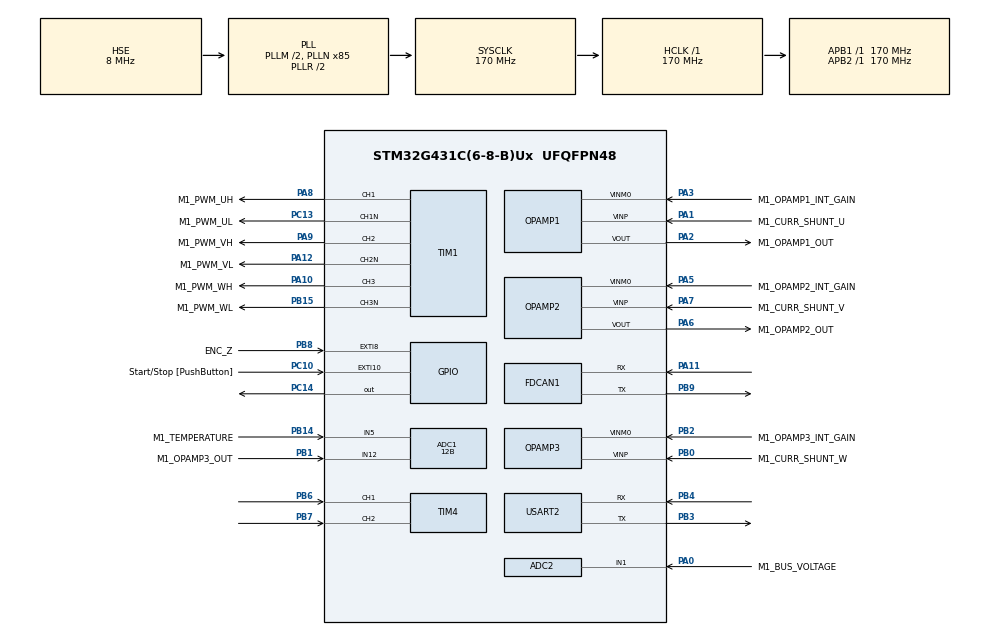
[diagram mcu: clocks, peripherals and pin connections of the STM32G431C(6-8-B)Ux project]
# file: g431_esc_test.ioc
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ADC1.ClockPrescaler=ADC_CLOCK_ASYNC_DIV1
ADC1.ContinuousConvMode=DISABLE
ADC1.DMAContinuousRequests=DISABLE
ADC1.DataAlign=ADC_DATAALIGN_RIGHT
ADC1.DiscontinuousConvMode=DISABLE
ADC1.EOCSelection=ADC_EOC_SEQ_CONV
ADC1.EnableAnalogWatchDog1=false
ADC1.EnableAnalogWatchDog2=false
ADC1.EnableAnalogWatchDog3=false
ADC1.EnableInjectedConversion=ENABLE
ADC1.EnableRegularConversion=DISABLE
ADC1.ExternalTrigInjecConv=ADC_EXTERNALTRIGINJEC_T1_CC4
ADC1.ExternalTrigInjecConvEdge=ADC_EXTERNALTRIGINJECCONV_EDGE_RISING
ADC1.InjNumberOfConversion=3
ADC1.InjectedChannel-1\#ChannelInjectedConversion=ADC_CHANNEL_3
ADC1.InjectedChannel-2\#ChannelInjectedConversion=ADC_CHANNEL_12
ADC1.InjectedChannel-3\#ChannelInjectedConversion=ADC_CHANNEL_5
ADC1.InjectedConvMode=None
ADC1.InjectedOffset-1\#ChannelInjectedConversion=0
ADC1.InjectedOffset-2\#ChannelInjectedConversion=0
ADC1.InjectedOffsetNumber-1\#ChannelInjectedConversion=ADC_OFFSET_NONE
ADC1.InjectedOffsetNumber-2\#ChannelInjectedConversion=ADC_OFFSET_NONE
ADC1.InjectedOffsetNumber-3\#ChannelInjectedConversion=ADC_OFFSET_NONE
ADC1.InjectedRank-1\#ChannelInjectedConversion=1
ADC1.InjectedRank-2\#ChannelInjectedConversion=2
ADC1.InjectedRank-3\#ChannelInjectedConversion=3
ADC1.InjectedSamplingTime-1\#ChannelInjectedConversion=ADC_SAMPLETIME_6CYCLES_5
ADC1.InjectedSamplingTime-2\#ChannelInjectedConversion=ADC_SAMPLETIME_6CYCLES_5
ADC1.InjectedSamplingTime-3\#ChannelInjectedConversion=ADC_SAMPLETIME_6CYCLES_5
ADC1.LowPowerAutoWait=DISABLE
ADC1.Overrun=ADC_OVR_DATA_PRESERVED
ADC1.Rank3_Channel=ADC_CHANNEL_5
ADC1.Resolution=ADC_RESOLUTION_12B
ADC1.ScanConvMode=ADC_SCAN_ENABLE
ADC1.master=1
ADC2.ClockPrescaler=ADC_CLOCK_ASYNC_DIV1
ADC2.ContinuousConvMode=DISABLE
ADC2.DMAContinuousRequests=DISABLE
ADC2.DataAlign=ADC_DATAALIGN_RIGHT
ADC2.DiscontinuousConvMode=DISABLE
ADC2.EOCSelection=ADC_EOC_SEQ_CONV
ADC2.EnableAnalogWatchDog1=false
ADC2.EnableAnalogWatchDog2=false
ADC2.EnableAnalogWatchDog3=false
ADC2.EnableInjectedConversion=ENABLE
ADC2.EnableRegularConversion=DISABLE
ADC2.ExternalTrigInjecConv=ADC_EXTERNALTRIGINJEC_T1_CC4
ADC2.ExternalTrigInjecConvEdge=ADC_EXTERNALTRIGINJECCONV_EDGE_RISING
ADC2.GainCompensation=0
ADC2.InjNumberOfConversion=2
ADC2.InjectedChannel-1\#ChannelInjectedConversion=ADC_CHANNEL_3
ADC2.InjectedChannel-3\#ChannelInjectedConversion=ADC_CHANNEL_1
ADC2.InjectedConvMode=None
ADC2.InjectedOffset-1\#ChannelInjectedConversion=0
ADC2.InjectedOffsetNumber-1\#ChannelInjectedConversion=ADC_OFFSET_NONE
ADC2.InjectedOffsetNumber-3\#ChannelInjectedConversion=ADC_OFFSET_NONE
ADC2.InjectedRank-1\#ChannelInjectedConversion=1
ADC2.InjectedRank-3\#ChannelInjectedConversion=2
ADC2.InjectedSamplingTime-1\#ChannelInjectedConversion=ADC_SAMPLETIME_6CYCLES_5
ADC2.InjectedSamplingTime-3\#ChannelInjectedConversion=ADC_SAMPLETIME_6CYCLES_5
ADC2.LowPowerAutoWait=DISABLE
ADC2.Overrun=ADC_OVR_DATA_PRESERVED
ADC2.Rank2_Channel=ADC_CHANNEL_1
ADC2.Resolution=ADC_RESOLUTION_12B
ADC2.ScanConvMode=ADC_SCAN_ENABLE
FDCAN1.CalculateBaudRateNominal=1000000
FDCAN1.CalculateTimeBitNominal=1000
FDCAN1.CalculateTimeQuantumNominal=100.0
FDCAN1.DataPrescaler=8
FDCAN1.DataSyncJumpWidth=2
FDCAN1.DataTimeSeg1=6
FDCAN1.DataTimeSeg2=3
FDCAN1.NominalPrescaler=17
FDCAN1.NominalSyncJumpWidth=2
FDCAN1.NominalTimeSeg1=6
FDCAN1.NominalTimeSeg2=3
FDCAN1.StdFiltersNbr=1
Mcu.Family=STM32G4
Mcu.Name=STM32G431C(6-8-B)Ux
Mcu.Package=UFQFPN48
NVIC.ADC1_2_IRQn=true\:2\:0\:true\:true\:true\:1\:true\:true\:true
NVIC.EXTI15_10_IRQn=true\:3\:0\:false\:true\:true\:2\:true\:true\:true
NVIC.EXTI9_5_IRQn=true\:5\:0\:true\:true\:true\:3\:true\:true\:true
NVIC.FDCAN1_IT0_IRQn=true\:5\:0\:true\:false\:true\:true\:true\:true
NVIC.FDCAN1_IT1_IRQn=true\:5\:0\:true\:false\:true\:true\:true\:true
NVIC.PriorityGroup=NVIC_PRIORITYGROUP_3
NVIC.USART2_IRQn=true\:0\:0\:false\:false\:true\:true\:true\:true
OPAMP1.PgaGain=OPAMP_PGA_GAIN_16_OR_MINUS_15
OPAMP1.SelfCalibration=Disable
OPAMP2.PgaGain=OPAMP_PGA_GAIN_16_OR_MINUS_15
OPAMP2.SelfCalibration=Disable
OPAMP3.PgaGain=OPAMP_PGA_GAIN_16_OR_MINUS_15
OPAMP3.SelfCalibration=Disable
PA0.GPIO_Label=M1_BUS_VOLTAGE
PA0.Signal=SharedAnalog_PA0
PA1.GPIO_Label=M1_CURR_SHUNT_U
PA1.Mode=PGA Connected-INVERTINGINPUT_IO0_BIAS
PA1.Signal=OPAMP1_VINP
PA10.GPIO_Label=M1_PWM_WH
PA10.GPIO_PuPd=GPIO_PULLDOWN
PA10.GPIO_Speed=GPIO_SPEED_FREQ_HIGH
PA10.Signal=S_TIM1_CH3
PA11.Mode=FDCAN_Activate
PA11.Signal=FDCAN1_RX
PA12.GPIO_Label=M1_PWM_VL
PA12.GPIO_PuPd=GPIO_PULLDOWN
PA12.GPIO_Speed=GPIO_SPEED_FREQ_HIGH
PA12.Mode=PWM Generation2 CH2 CH2N
PA12.Signal=TIM1_CH2N
PA13.GPIO_Label=TMS
PA13.Mode=Serial_Wire
PA13.Signal=SYS_JTMS-SWDIO
PA14.GPIO_Label=TCK
PA14.Mode=Serial_Wire
PA14.Signal=SYS_JTCK-SWCLK
PA2.GPIO_Label=M1_OPAMP1_OUT
PA2.Signal=SharedAnalog_PA2
PA3.GPIO_Label=M1_OPAMP1_INT_GAIN
PA3.Mode=PGA Connected-INVERTINGINPUT_IO0_BIAS
PA3.Signal=OPAMP1_VINM0
PA5.GPIO_Label=M1_OPAMP2_INT_GAIN
PA5.Mode=PGA Connected-INVERTINGINPUT_IO0_BIAS
PA5.Signal=OPAMP2_VINM0
PA6.GPIO_Label=M1_OPAMP2_OUT
PA6.Signal=SharedAnalog_PA6
PA7.GPIO_Label=M1_CURR_SHUNT_V
PA7.Mode=PGA Connected-INVERTINGINPUT_IO0_BIAS
PA7.Signal=OPAMP2_VINP
PA8.GPIO_Label=M1_PWM_UH
PA8.GPIO_PuPd=GPIO_PULLDOWN
PA8.GPIO_Speed=GPIO_SPEED_FREQ_HIGH
PA8.Signal=S_TIM1_CH1
PA9.GPIO_Label=M1_PWM_VH
PA9.GPIO_PuPd=GPIO_PULLDOWN
PA9.GPIO_Speed=GPIO_SPEED_FREQ_HIGH
PA9.Signal=S_TIM1_CH2
PB0.GPIO_Label=M1_CURR_SHUNT_W
PB0.Mode=PGA Connected-INVERTINGINPUT_IO0_BIAS
PB0.Signal=OPAMP3_VINP
PB1.GPIO_Label=M1_OPAMP3_OUT
PB1.Signal=SharedAnalog_PB1
PB14.GPIO_Label=M1_TEMPERATURE
PB14.Mode=IN5-Single-Ended
PB14.Signal=ADC1_IN5
PB15.GPIO_Label=M1_PWM_WL
PB15.GPIO_PuPd=GPIO_PULLDOWN
PB15.GPIO_Speed=GPIO_SPEED_FREQ_HIGH
PB15.Mode=PWM Generation3 CH3 CH3N
PB15.Signal=TIM1_CH3N
PB2.GPIO_Label=M1_OPAMP3_INT_GAIN
PB2.Mode=PGA Connected-INVERTINGINPUT_IO0_BIAS
PB2.Signal=OPAMP3_VINM0
PB3.Mode=Asynchronous
PB3.Signal=USART2_TX
PB4.Mode=Asynchronous
PB4.Signal=USART2_RX
PB6.Signal=S_TIM4_CH1
PB7.Signal=S_TIM4_CH2
PB8-BOOT0.GPIO_Label=ENC_Z
PB8-BOOT0.Signal=GPXTI8
PB9.Mode=FDCAN_Activate
PB9.Signal=FDCAN1_TX
PC10.GPIO_Label=Start/Stop [PushButton]
PC10.GPIO_ModeDefaultEXTI=GPIO_MODE_IT_FALLING
PC10.GPIO_PuPd=GPIO_NOPULL
PC10.Signal=GPXTI10
PC13.GPIO_Label=M1_PWM_UL
PC13.GPIO_PuPd=GPIO_PULLDOWN
PC13.GPIO_Speed=GPIO_SPEED_FREQ_HIGH
PC13.Mode=PWM Generation1 CH1 CH1N
PC13.Signal=TIM1_CH1N
PC14-OSC32_IN.Signal=GPIO_Output
PF0-OSC_IN.Mode=HSE-External-Oscillator
PF0-OSC_IN.Signal=RCC_OSC_IN
PF1-OSC_OUT.Mode=HSE-External-Oscillator
PF1-OSC_OUT.Signal=RCC_OSC_OUT
ProjectManager.HeapSize=0x200
ProjectManager.StackSize=0x400
ProjectManager.TargetToolchain=STM32CubeIDE
RCC.ADC12CLockSelection=RCC_ADC12CLKSOURCE_PLL
RCC.ADC12Freq_Value=42500000
RCC.AHBFreq_Value=170000000
RCC.APB1Freq_Value=170000000
RCC.APB1TimFreq_Value=170000000
RCC.APB2Freq_Value=170000000
RCC.APB2TimFreq_Value=170000000
RCC.CK48CLockSelection=RCC_USBCLKSOURCE_PLL
RCC.CortexFreq_Value=170000000
RCC.EXTERNAL_CLOCK_VALUE=12288000
RCC.EnbaleCSS=true
RCC.HCLKFreq_Value=170000000
RCC.HSE_VALUE=8000000
RCC.HSI48_VALUE=48000000
RCC.HSI_VALUE=16000000
RCC.LSE_VALUE=32768
RCC.PLLM=RCC_PLLM_DIV2
RCC.PLLN=85
RCC.PLLP=RCC_PLLP_DIV8
RCC.PLLSourceVirtual=RCC_PLLSOURCE_HSE
RCC.PREFETCH_ENABLE=1
RCC.SYSCLKFreq_VALUE=170000000
RCC.SYSCLKSource=RCC_SYSCLKSOURCE_PLLCLK
RCC.USBFreq_Value=170000000
RCC.VCOOutputFreq_Value=340000000
SH.S_TIM1_CH1.0=TIM1_CH1,PWM Generation1 CH1 CH1N
SH.S_TIM1_CH2.0=TIM1_CH2,PWM Generation2 CH2 CH2N
SH.S_TIM1_CH3.0=TIM1_CH3,PWM Generation3 CH3 CH3N
SH.S_TIM4_CH1.0=TIM4_CH1,Encoder_Interface
SH.S_TIM4_CH2.0=TIM4_CH2,Encoder_Interface
SH.SharedAnalog_PA0.0=ADC1_IN1
SH.SharedAnalog_PA0.1=ADC2_IN1,IN1-Single-Ended
SH.SharedAnalog_PA2.0=OPAMP1_VOUT,PGA Connected-INVERTINGINPUT_IO0_BIAS
SH.SharedAnalog_PA2.1=ADC1_IN3,IN3-Single-Ended
SH.SharedAnalog_PA6.0=OPAMP2_VOUT,PGA Connected-INVERTINGINPUT_IO0_BIAS
SH.SharedAnalog_PA6.1=ADC2_IN3,IN3-Single-Ended
SH.SharedAnalog_PB1.0=ADC1_IN12,IN12-Single-Ended
SH.SharedAnalog_PB1.1=OPAMP3_VOUT,PGA Connected-INVERTINGINPUT_IO0_BIAS
TIM1.AutoReloadPreload=TIM_AUTORELOAD_PRELOAD_DISABLE
TIM1.AutomaticOutput=TIM_AUTOMATICOUTPUT_DISABLE
TIM1.Break2Filter=3
TIM1.Break2Polarity=TIM_BREAK2POLARITY_HIGH
TIM1.Break2State=TIM_BREAK2_DISABLE
TIM1.BreakFilter=0
TIM1.BreakPolarity=TIM_BREAKPOLARITY_HIGH
TIM1.BreakState=TIM_BREAK_DISABLE
TIM1.Channel=TIM_CHANNEL_4
TIM1.Channel-PWM\ Generation1\ CH1\ CH1N=TIM_CHANNEL_1
TIM1.Channel-PWM\ Generation2\ CH2\ CH2N=TIM_CHANNEL_2
TIM1.Channel-PWM\ Generation3\ CH3\ CH3N=TIM_CHANNEL_3
TIM1.Channel-PWM\ Generation4\ No\ Output=TIM_CHANNEL_4
TIM1.ClearInputSource=TIM_CLEARINPUTSOURCE_NONE
TIM1.ClockDivision=TIM_CLOCKDIVISION_DIV2
TIM1.CounterMode=TIM_COUNTERMODE_CENTERALIGNED1
TIM1.DeadTime=((DEAD_TIME_COUNTS) / 2)
TIM1.LockLevel=TIM_LOCKLEVEL_OFF
TIM1.OC1Preload_PWM=ENABLE
TIM1.OC2Preload_PWM=ENABLE
TIM1.OC3Preload_PWM=ENABLE
TIM1.OC4Preload_PWM=ENABLE
TIM1.OCFastMode_PWM=TIM_OCFAST_DISABLE
TIM1.OCIdleState_1=TIM_OCIDLESTATE_RESET
TIM1.OCIdleState_2=TIM_OCIDLESTATE_RESET
TIM1.OCIdleState_3=TIM_OCIDLESTATE_RESET
TIM1.OCIdleState_4=TIM_OCIDLESTATE_RESET
TIM1.OCMode_PWM-PWM\ Generation1\ CH1\ CH1N=TIM_OCMODE_PWM1
TIM1.OCMode_PWM-PWM\ Generation2\ CH2\ CH2N=TIM_OCMODE_PWM1
TIM1.OCMode_PWM-PWM\ Generation3\ CH3\ CH3N=TIM_OCMODE_PWM1
TIM1.OCMode_PWM-PWM\ Generation4\ No\ Output=TIM_OCMODE_PWM2
TIM1.OCNIdleState_1=TIM_OCNIDLESTATE_RESET
TIM1.OCNIdleState_2=TIM_OCNIDLESTATE_RESET
TIM1.OCNIdleState_3=TIM_OCNIDLESTATE_RESET
TIM1.OCNPolarity_1=TIM_OCNPOLARITY_HIGH
TIM1.OCNPolarity_2=TIM_OCNPOLARITY_HIGH
TIM1.OCNPolarity_3=TIM_OCNPOLARITY_HIGH
TIM1.OCPolarity_1=TIM_OCPOLARITY_HIGH
TIM1.OCPolarity_2=TIM_OCPOLARITY_HIGH
TIM1.OCPolarity_3=TIM_OCPOLARITY_HIGH
TIM1.OCPolarity_4=TIM_OCPOLARITY_HIGH
TIM1.OffStateIDLEMode=TIM_OSSI_ENABLE
TIM1.OffStateRunMode=TIM_OSSR_ENABLE
TIM1.PeriodNoDither=((PWM_PERIOD_CYCLES) / 2)
TIM1.Prescaler=((TIM_CLOCK_DIVIDER) - 1)
TIM1.PulseNoDither_1=((PWM_PERIOD_CYCLES) / 4)
TIM1.PulseNoDither_2=((PWM_PERIOD_CYCLES) / 4)
TIM1.PulseNoDither_3=((PWM_PERIOD_CYCLES) / 4)
TIM1.PulseNoDither_4=(((PWM_PERIOD_CYCLES) / 2) - (HTMIN))
TIM1.RepetitionCounter=(REP_COUNTER)
TIM1.SourceBRK2DigInput=TIM_BREAKINPUTSOURCE_DISABLE
TIM1.SourceBRKDigInput=TIM_BREAKINPUTSOURCE_DISABLE
TIM1.TIM_MasterOutputTrigger=TIM_TRGO_OC4REF
TIM1.TIM_MasterOutputTrigger2=TIM_TRGO2_RESET
TIM1.TIM_MasterSlaveMode=TIM_MASTERSLAVEMODE_DISABLE
TIM1.TIM_SlaveMode=TIM_SLAVEMODE_TRIGGER
TIM4.EncoderMode=TIM_ENCODERMODE_TI12
USART2.VirtualMode-Asynchronous=VM_ASYNC
VP_SYS_VS_DBSignals.Mode=DisableDeadBatterySignals
VP_TIM1_VS_no_output4.Mode=PWM Generation4 No Output
board=custom

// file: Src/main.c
/* USER CODE BEGIN Header */
/**
  ******************************************************************************
  * @file           : main.c
  * @brief          : Main program body
  ******************************************************************************
  * @attention
  *
  * Copyright (c) 2024 STMicroelectronics.
  * All rights reserved.
  *
  * This software is licensed under terms that can be found in the LICENSE file
  * in the root directory of this software component.
  * If no LICENSE file comes with this software, it is provided AS-IS.
  *
  ******************************************************************************
  */
/* USER CODE END Header */
#include "main.h"

/* USER CODE BEGIN Includes */

#include <stdio.h>

/* USER CODE END Includes */

/* USER CODE BEGIN PD */

#define TIM_CLOCK_DIVIDER  1
#define PWM_PERIOD_CYCLES  17000
#define REP_COUNTER  1
#define DEAD_TIME_COUNTS  170
#define HTMIN 10

/* USER CODE END PD */

ADC_HandleTypeDef hadc1;
ADC_HandleTypeDef hadc2;

FDCAN_HandleTypeDef hfdcan1;

OPAMP_HandleTypeDef hopamp1;
OPAMP_HandleTypeDef hopamp2;
OPAMP_HandleTypeDef hopamp3;

TIM_HandleTypeDef htim1;
TIM_HandleTypeDef htim4;

UART_HandleTypeDef huart2;

/* USER CODE BEGIN PV */

#define DUMP_LENGTH (1024)

volatile uint32_t hf_counter = 0;
volatile uint32_t dump_ad1[DUMP_LENGTH];
volatile uint32_t dump_ad2[DUMP_LENGTH];
volatile uint32_t dump_ad3[DUMP_LENGTH];
volatile uint32_t dump_ad4[DUMP_LENGTH];
volatile uint32_t dump_ad5[DUMP_LENGTH];
volatile uint32_t dump_ad6[DUMP_LENGTH];

#define UART_RX_LINE_SIZE 256

uint8_t uart_rx_line[UART_RX_LINE_SIZE];
uint32_t uart_rx_counter = 0;
uint8_t uart_rx_c;

float duty_a = 0.0;
float duty_b = 0.0;
int ccr1 = 0;
int ccr2 = 0;
int ccr3 = 0;

/* USER CODE END PV */

void SystemClock_Config(void);
static void MX_GPIO_Init(void);
static void MX_ADC1_Init(void);
static void MX_ADC2_Init(void);
static void MX_OPAMP1_Init(void);
static void MX_OPAMP2_Init(void);
static void MX_OPAMP3_Init(void);
static void MX_TIM1_Init(void);
static void MX_USART2_UART_Init(void);
static void MX_TIM4_Init(void);
static void MX_FDCAN1_Init(void);
static void MX_NVIC_Init(void);
/* USER CODE BEGIN PFP */

void __io_putchar(uint8_t ch)
{
	HAL_UART_Transmit(&huart2, &ch, 1, 1);
}

/* USER CODE END PFP */

/* USER CODE BEGIN 0 */

void HAL_GPIO_EXTI_Callback(uint16_t GPIO_Pin)
{

//	if(GPIO_Pin == ENC_Z_Pin)
//	{
//		uint16_t cnt = htim4.Instance->CNT;
//
//		printf("cnt = %6d \r\n", cnt);
//	}

	return;
}

void HAL_ADCEx_InjectedConvCpltCallback(ADC_HandleTypeDef *hadc)
{

	if(hadc->Instance != hadc1.Instance) return;

	if(hf_counter < (DUMP_LENGTH << 0))
	{
		dump_ad1[hf_counter >> 0] = hadc1.Instance->JDR1;
		dump_ad2[hf_counter >> 0] = hadc1.Instance->JDR2;
		dump_ad3[hf_counter >> 0] = hadc1.Instance->JDR3;
		dump_ad4[hf_counter >> 0] = hadc2.Instance->JDR1;
		dump_ad5[hf_counter >> 0] = hadc2.Instance->JDR2;
	}

	hf_counter += 1;

	return;
}

int parse_cmd(char *str, float *cmd_a, float *cmd_b)
{
	return sscanf(str, "%f,%f", cmd_a, cmd_b);
}

void update_pwm(float cmd_a, float cmd_b)
{
	float max, min, offset;
	max = (cmd_a > cmd_b ? (cmd_a > 0 ? cmd_a : 0) : (cmd_b > 0 ? cmd_b : 0));
	min = (cmd_a < cmd_b ? (cmd_a < 0 ? cmd_a : 0) : (cmd_b < 0 ? cmd_b : 0));
	printf("min=%f, max=%f\n", max, min);
	offset = 0.5 - (max + min) / 2;
	htim1.Instance->CCR1 = ccr1 = PWM_PERIOD_CYCLES / 2 * (cmd_a + offset);
	htim1.Instance->CCR2 = ccr2 = PWM_PERIOD_CYCLES / 2 * offset;
	htim1.Instance->CCR3 = ccr3 = PWM_PERIOD_CYCLES / 2 * (cmd_b + offset);

}

void set_cmd(float cmd_a, float cmd_b)
{

	const float upper_lim = 0.97;

	// Limiter
	float sum = 0.0;
	if(cmd_a < -upper_lim)     { cmd_a = -upper_lim; }
	else if(cmd_a > upper_lim) { cmd_a =  upper_lim; }
	if(cmd_b < -upper_lim)     { cmd_b = -upper_lim; }
	else if(cmd_b > upper_lim) { cmd_b =  upper_lim; }

	sum = cmd_a + cmd_b;
	if(cmd_b - cmd_a > upper_lim)
	{
		duty_a = (sum - upper_lim) * 0.5;
		duty_b = (sum + upper_lim) * 0.5;
	}
	else if(cmd_a - cmd_b > upper_lim)
	{
		duty_a = (sum + upper_lim) * 0.5;
		duty_b = (sum - upper_lim) * 0.5;
	}
	else
	{
		duty_a = cmd_a;
		duty_b = cmd_b;
	}

	// Update pwm
	update_pwm(duty_a, duty_b);

}

void HAL_UART_RxCpltCallback(UART_HandleTypeDef *huart)
{

	if(huart->Instance == huart2.Instance)
	{
		if(uart_rx_c == '\n')
		{
			float cmd_a, cmd_b;
			int res;
			uart_rx_line[uart_rx_counter] = '\0';
			uart_rx_counter = 0;
			res = parse_cmd((char*)uart_rx_line, &cmd_a, &cmd_b);
			if(res == 2)
			{
				set_cmd(cmd_a, cmd_b);
//				duty_a = cmd_a;
//				duty_b = cmd_b;
			}
		}
		else
		{
			uart_rx_line[uart_rx_counter] = uart_rx_c;
			uart_rx_counter += 1;
		}

		HAL_UART_Receive_IT(&huart2, &uart_rx_c, 1);
	}

}

int CAN_Init()
{

	FDCAN_FilterTypeDef sFilterConfig;

	sFilterConfig.IdType = FDCAN_STANDARD_ID;
	sFilterConfig.FilterIndex = 0;
	sFilterConfig.FilterType = FDCAN_FILTER_MASK;
	sFilterConfig.FilterConfig = FDCAN_FILTER_TO_RXFIFO0;
	sFilterConfig.FilterID1 = 0x00;//0x400;
	sFilterConfig.FilterID2 = 0x000;//0x7fc; // 0b0111 1111 1100

	if(HAL_FDCAN_ConfigFilter(&hfdcan1, &sFilterConfig) != HAL_OK)
	{
		return -1;
		//Error_Handler();
	}

	if(HAL_FDCAN_ConfigGlobalFilter(&hfdcan1, FDCAN_ACCEPT_IN_RX_FIFO0, FDCAN_ACCEPT_IN_RX_FIFO0, ENABLE, ENABLE) != HAL_OK)
	{
		return -1;
		//Error_Handler();
	}

	if(HAL_FDCAN_ActivateNotification(&hfdcan1, FDCAN_FLAG_RX_FIFO0_NEW_MESSAGE, 0) != HAL_OK)
	{
		return -1;
		//Error_Handler();
	}

	if(HAL_FDCAN_ActivateNotification(&hfdcan1, FDCAN_IT_BUS_OFF, 0) != HAL_OK)
	{
		return -1;
		//Error_Handler();
	}

	if(HAL_FDCAN_Start(&hfdcan1) != HAL_OK)
	{
		return -1;
		//Error_Handler();
	}

}

void HAL_FDCAN_RxFifo0Callback(FDCAN_HandleTypeDef *hfdcan, uint32_t RxFifo0ITs)
{

	if(hfdcan->Instance == FDCAN1 && RxFifo0ITs & FDCAN_IT_RX_FIFO0_NEW_MESSAGE)
	{
		FDCAN_RxHeaderTypeDef canRxHeader;
		uint8_t canRxData[8];
		uint8_t motor_channel;

		HAL_FDCAN_GetRxMessage(hfdcan, FDCAN_RX_FIFO0, &canRxHeader, canRxData);

		printf("id = %08x\n", canRxHeader.Identifier);
		printf("DLC = %d\n", canRxHeader.DataLength);
		printf("Data = [");
		for(int i = 0; i < 8; i++)
		{
			printf("%02x ", canRxData[i]);
		}
		printf("]\n");

	}

}

void  HAL_FDCAN_ErrorStatusCallback(FDCAN_HandleTypeDef *hfdcan, uint32_t ErrorStatusITs)
{
	if((ErrorStatusITs & FDCAN_IE_BOE) != 0)  /* If Bus-Off error occured */
	{
		hfdcan->Instance->CCCR &= ~FDCAN_CCCR_INIT; /* Recover from Bus-Off */
	}
}

/* USER CODE END 0 */

int main(void)
{

  /* MCU Configuration--------------------------------------------------------*/

  /* Reset of all peripherals, Initializes the Flash interface and the Systick. */
  HAL_Init();

  /* Configure the system clock */
  SystemClock_Config();

  /* Initialize all configured peripherals */
  MX_GPIO_Init();
  MX_ADC1_Init();
  MX_ADC2_Init();
  MX_OPAMP1_Init();
  MX_OPAMP2_Init();
  MX_OPAMP3_Init();
  MX_TIM1_Init();
  MX_USART2_UART_Init();
  MX_TIM4_Init();
  MX_FDCAN1_Init();

  /* Initialize interrupts */
  MX_NVIC_Init();
  /* USER CODE BEGIN 2 */

	HAL_Delay(500);
	printf("Hello \r\n");

	HAL_OPAMP_Start(&hopamp1);
	HAL_OPAMP_Start(&hopamp2);
	HAL_OPAMP_Start(&hopamp3);

	HAL_ADCEx_InjectedStart_IT(&hadc1);
  	HAL_ADCEx_InjectedStart_IT(&hadc2);

	HAL_TIM_PWM_Start_IT(&htim1, TIM_CHANNEL_1);
	HAL_TIM_PWM_Start_IT(&htim1, TIM_CHANNEL_2);
	HAL_TIM_PWM_Start_IT(&htim1, TIM_CHANNEL_3);
	HAL_TIM_PWM_Start_IT(&htim1, TIM_CHANNEL_4);

	HAL_TIMEx_PWMN_Start_IT(&htim1, TIM_CHANNEL_1);
	HAL_TIMEx_PWMN_Start_IT(&htim1, TIM_CHANNEL_2);
	HAL_TIMEx_PWMN_Start_IT(&htim1, TIM_CHANNEL_3);

	HAL_UART_Receive_IT(&huart2, &uart_rx_c, 1);

	CAN_Init();

//	HAL_TIM_Encoder_Start(&htim4, TIM_CHANNEL_ALL);

  /* USER CODE END 2 */

  /* Infinite loop */
  /* USER CODE BEGIN WHILE */

//	while(hf_counter < (DUMP_LENGTH << 0))
//	{
//		HAL_Delay(100);
//	}
//
//	for(int i = 0; i < DUMP_LENGTH; i++)
//	{
//		printf("%d, %ld, %ld, %ld, %ld, %ld, %ld\r\n", i, dump_ad1[i], dump_ad2[i], dump_ad3[i], dump_ad4[i], dump_ad5[i], dump_ad6[i]);
//		HAL_Delay(1);
//	}

  while (1)
  {

		HAL_Delay(200);

//		HAL_UART_Transmit(&huart2, "ABCDEFG\n", 8, 1);

//		for(int i = 0; i < 40; i++)
//		{
//			printf("%c", uart_rx_line[i]);
//		}
//		printf(", cnt = %d\n", uart_rx_counter);

//		printf("cmd = %f, %f\n", duty_a, duty_b);
//		printf("ccr = %5d, %5d, %5d\n", ccr1, ccr2, ccr3);

//		uint16_t cnt = htim4.Instance->CNT;
//		uint8_t z = HAL_GPIO_ReadPin(ENC_Z_GPIO_Port, ENC_Z_Pin);

//		printf("cnt = %d , z = %d\r\n", cnt, z);
//		printf("cnt = %6d \r\n", cnt);

    /* USER CODE END WHILE */

  }
}

void SystemClock_Config(void)
{
  RCC_OscInitTypeDef RCC_OscInitStruct = {0};
  RCC_ClkInitTypeDef RCC_ClkInitStruct = {0};

  /** Configure the main internal regulator output voltage
  */
  HAL_PWREx_ControlVoltageScaling(PWR_REGULATOR_VOLTAGE_SCALE1_BOOST);

  /** Initializes the RCC Oscillators according to the specified parameters
  * in the RCC_OscInitTypeDef structure.
  */
  RCC_OscInitStruct.OscillatorType = RCC_OSCILLATORTYPE_HSE;
  RCC_OscInitStruct.HSEState = RCC_HSE_ON;
  RCC_OscInitStruct.PLL.PLLState = RCC_PLL_ON;
  RCC_OscInitStruct.PLL.PLLSource = RCC_PLLSOURCE_HSE;
  RCC_OscInitStruct.PLL.PLLM = RCC_PLLM_DIV2;
  RCC_OscInitStruct.PLL.PLLN = 85;
  RCC_OscInitStruct.PLL.PLLP = RCC_PLLP_DIV8;
  RCC_OscInitStruct.PLL.PLLQ = RCC_PLLQ_DIV2;
  RCC_OscInitStruct.PLL.PLLR = RCC_PLLR_DIV2;
  if (HAL_RCC_OscConfig(&RCC_OscInitStruct) != HAL_OK)
  {
    Error_Handler();
  }

  /** Initializes the CPU, AHB and APB buses clocks
  */
  RCC_ClkInitStruct.ClockType = RCC_CLOCKTYPE_HCLK|RCC_CLOCKTYPE_SYSCLK
                              |RCC_CLOCKTYPE_PCLK1|RCC_CLOCKTYPE_PCLK2;
  RCC_ClkInitStruct.SYSCLKSource = RCC_SYSCLKSOURCE_PLLCLK;
  RCC_ClkInitStruct.AHBCLKDivider = RCC_SYSCLK_DIV1;
  RCC_ClkInitStruct.APB1CLKDivider = RCC_HCLK_DIV1;
  RCC_ClkInitStruct.APB2CLKDivider = RCC_HCLK_DIV1;

  if (HAL_RCC_ClockConfig(&RCC_ClkInitStruct, FLASH_LATENCY_4) != HAL_OK)
  {
    Error_Handler();
  }

  /** Enables the Clock Security System
  */
  HAL_RCC_EnableCSS();
}

/**
  * @brief NVIC Configuration.
  * @retval None
  */
static void MX_NVIC_Init(void)
{
  /* ADC1_2_IRQn interrupt configuration */
  HAL_NVIC_SetPriority(ADC1_2_IRQn, 2, 0);
  HAL_NVIC_EnableIRQ(ADC1_2_IRQn);
  /* EXTI15_10_IRQn interrupt configuration */
  HAL_NVIC_SetPriority(EXTI15_10_IRQn, 3, 0);
  HAL_NVIC_EnableIRQ(EXTI15_10_IRQn);
  /* EXTI9_5_IRQn interrupt configuration */
  HAL_NVIC_SetPriority(EXTI9_5_IRQn, 5, 0);
  HAL_NVIC_EnableIRQ(EXTI9_5_IRQn);
}

static void MX_ADC1_Init(void)
{

  ADC_MultiModeTypeDef multimode = {0};
  ADC_InjectionConfTypeDef sConfigInjected = {0};

  /** Common config
  */
  hadc1.Instance = ADC1;
  hadc1.Init.ClockPrescaler = ADC_CLOCK_ASYNC_DIV1;
  hadc1.Init.Resolution = ADC_RESOLUTION_12B;
  hadc1.Init.DataAlign = ADC_DATAALIGN_RIGHT;
  hadc1.Init.GainCompensation = 0;
  hadc1.Init.ScanConvMode = ADC_SCAN_ENABLE;
  hadc1.Init.EOCSelection = ADC_EOC_SEQ_CONV;
  hadc1.Init.LowPowerAutoWait = DISABLE;
  hadc1.Init.ContinuousConvMode = DISABLE;
  hadc1.Init.NbrOfConversion = 1;
  hadc1.Init.DiscontinuousConvMode = DISABLE;
  hadc1.Init.DMAContinuousRequests = DISABLE;
  hadc1.Init.Overrun = ADC_OVR_DATA_PRESERVED;
  hadc1.Init.OversamplingMode = DISABLE;
  if (HAL_ADC_Init(&hadc1) != HAL_OK)
  {
    Error_Handler();
  }

  /** Configure the ADC multi-mode
  */
  multimode.Mode = ADC_MODE_INDEPENDENT;
  if (HAL_ADCEx_MultiModeConfigChannel(&hadc1, &multimode) != HAL_OK)
  {
    Error_Handler();
  }

  /** Configure Injected Channel
  */
  sConfigInjected.InjectedChannel = ADC_CHANNEL_3;
  sConfigInjected.InjectedRank = ADC_INJECTED_RANK_1;
  sConfigInjected.InjectedSamplingTime = ADC_SAMPLETIME_6CYCLES_5;
  sConfigInjected.InjectedSingleDiff = ADC_SINGLE_ENDED;
  sConfigInjected.InjectedOffsetNumber = ADC_OFFSET_NONE;
  sConfigInjected.InjectedOffset = 0;
  sConfigInjected.InjectedNbrOfConversion = 3;
  sConfigInjected.InjectedDiscontinuousConvMode = DISABLE;
  sConfigInjected.AutoInjectedConv = DISABLE;
  sConfigInjected.QueueInjectedContext = DISABLE;
  sConfigInjected.ExternalTrigInjecConv = ADC_EXTERNALTRIGINJEC_T1_CC4;
  sConfigInjected.ExternalTrigInjecConvEdge = ADC_EXTERNALTRIGINJECCONV_EDGE_RISING;
  sConfigInjected.InjecOversamplingMode = DISABLE;
  if (HAL_ADCEx_InjectedConfigChannel(&hadc1, &sConfigInjected) != HAL_OK)
  {
    Error_Handler();
  }

  /** Configure Injected Channel
  */
  sConfigInjected.InjectedChannel = ADC_CHANNEL_12;
  sConfigInjected.InjectedRank = ADC_INJECTED_RANK_2;
  if (HAL_ADCEx_InjectedConfigChannel(&hadc1, &sConfigInjected) != HAL_OK)
  {
    Error_Handler();
  }

  /** Configure Injected Channel
  */
  sConfigInjected.InjectedChannel = ADC_CHANNEL_5;
  sConfigInjected.InjectedRank = ADC_INJECTED_RANK_3;
  if (HAL_ADCEx_InjectedConfigChannel(&hadc1, &sConfigInjected) != HAL_OK)
  {
    Error_Handler();
  }

}

static void MX_ADC2_Init(void)
{

  ADC_InjectionConfTypeDef sConfigInjected = {0};

  /** Common config
  */
  hadc2.Instance = ADC2;
  hadc2.Init.ClockPrescaler = ADC_CLOCK_ASYNC_DIV1;
  hadc2.Init.Resolution = ADC_RESOLUTION_12B;
  hadc2.Init.DataAlign = ADC_DATAALIGN_RIGHT;
  hadc2.Init.GainCompensation = 0;
  hadc2.Init.ScanConvMode = ADC_SCAN_ENABLE;
  hadc2.Init.EOCSelection = ADC_EOC_SEQ_CONV;
  hadc2.Init.LowPowerAutoWait = DISABLE;
  hadc2.Init.ContinuousConvMode = DISABLE;
  hadc2.Init.NbrOfConversion = 1;
  hadc2.Init.DiscontinuousConvMode = DISABLE;
  hadc2.Init.DMAContinuousRequests = DISABLE;
  hadc2.Init.Overrun = ADC_OVR_DATA_PRESERVED;
  hadc2.Init.OversamplingMode = DISABLE;
  if (HAL_ADC_Init(&hadc2) != HAL_OK)
  {
    Error_Handler();
  }

  /** Configure Injected Channel
  */
  sConfigInjected.InjectedChannel = ADC_CHANNEL_3;
  sConfigInjected.InjectedRank = ADC_INJECTED_RANK_1;
  sConfigInjected.InjectedSamplingTime = ADC_SAMPLETIME_6CYCLES_5;
  sConfigInjected.InjectedSingleDiff = ADC_SINGLE_ENDED;
  sConfigInjected.InjectedOffsetNumber = ADC_OFFSET_NONE;
  sConfigInjected.InjectedOffset = 0;
  sConfigInjected.InjectedNbrOfConversion = 2;
  sConfigInjected.InjectedDiscontinuousConvMode = DISABLE;
  sConfigInjected.AutoInjectedConv = DISABLE;
  sConfigInjected.QueueInjectedContext = DISABLE;
  sConfigInjected.ExternalTrigInjecConv = ADC_EXTERNALTRIGINJEC_T1_CC4;
  sConfigInjected.ExternalTrigInjecConvEdge = ADC_EXTERNALTRIGINJECCONV_EDGE_RISING;
  sConfigInjected.InjecOversamplingMode = DISABLE;
  if (HAL_ADCEx_InjectedConfigChannel(&hadc2, &sConfigInjected) != HAL_OK)
  {
    Error_Handler();
  }

  /** Configure Injected Channel
  */
  sConfigInjected.InjectedChannel = ADC_CHANNEL_1;
  sConfigInjected.InjectedRank = ADC_INJECTED_RANK_2;
  if (HAL_ADCEx_InjectedConfigChannel(&hadc2, &sConfigInjected) != HAL_OK)
  {
    Error_Handler();
  }

}

static void MX_FDCAN1_Init(void)
{

  hfdcan1.Instance = FDCAN1;
  hfdcan1.Init.ClockDivider = FDCAN_CLOCK_DIV1;
  hfdcan1.Init.FrameFormat = FDCAN_FRAME_CLASSIC;
  hfdcan1.Init.Mode = FDCAN_MODE_NORMAL;
  hfdcan1.Init.AutoRetransmission = DISABLE;
  hfdcan1.Init.TransmitPause = DISABLE;
  hfdcan1.Init.ProtocolException = DISABLE;
  hfdcan1.Init.NominalPrescaler = 17;
  hfdcan1.Init.NominalSyncJumpWidth = 2;
  hfdcan1.Init.NominalTimeSeg1 = 6;
  hfdcan1.Init.NominalTimeSeg2 = 3;
  hfdcan1.Init.DataPrescaler = 8;
  hfdcan1.Init.DataSyncJumpWidth = 2;
  hfdcan1.Init.DataTimeSeg1 = 6;
  hfdcan1.Init.DataTimeSeg2 = 3;
  hfdcan1.Init.StdFiltersNbr = 1;
  hfdcan1.Init.ExtFiltersNbr = 0;
  hfdcan1.Init.TxFifoQueueMode = FDCAN_TX_FIFO_OPERATION;
  if (HAL_FDCAN_Init(&hfdcan1) != HAL_OK)
  {
    Error_Handler();
  }

}

static void MX_OPAMP1_Init(void)
{

  hopamp1.Instance = OPAMP1;
  hopamp1.Init.PowerMode = OPAMP_POWERMODE_NORMALSPEED;
  hopamp1.Init.Mode = OPAMP_PGA_MODE;
  hopamp1.Init.NonInvertingInput = OPAMP_NONINVERTINGINPUT_IO0;
  hopamp1.Init.InternalOutput = DISABLE;
  hopamp1.Init.TimerControlledMuxmode = OPAMP_TIMERCONTROLLEDMUXMODE_DISABLE;
  hopamp1.Init.PgaConnect = OPAMP_PGA_CONNECT_INVERTINGINPUT_IO0_BIAS;
  hopamp1.Init.PgaGain = OPAMP_PGA_GAIN_16_OR_MINUS_15;
  hopamp1.Init.UserTrimming = OPAMP_TRIMMING_FACTORY;
  if (HAL_OPAMP_Init(&hopamp1) != HAL_OK)
  {
    Error_Handler();
  }

}

static void MX_OPAMP2_Init(void)
{

  hopamp2.Instance = OPAMP2;
  hopamp2.Init.PowerMode = OPAMP_POWERMODE_NORMALSPEED;
  hopamp2.Init.Mode = OPAMP_PGA_MODE;
  hopamp2.Init.NonInvertingInput = OPAMP_NONINVERTINGINPUT_IO0;
  hopamp2.Init.InternalOutput = DISABLE;
  hopamp2.Init.TimerControlledMuxmode = OPAMP_TIMERCONTROLLEDMUXMODE_DISABLE;
  hopamp2.Init.PgaConnect = OPAMP_PGA_CONNECT_INVERTINGINPUT_IO0_BIAS;
  hopamp2.Init.PgaGain = OPAMP_PGA_GAIN_16_OR_MINUS_15;
  hopamp2.Init.UserTrimming = OPAMP_TRIMMING_FACTORY;
  if (HAL_OPAMP_Init(&hopamp2) != HAL_OK)
  {
    Error_Handler();
  }

}

static void MX_OPAMP3_Init(void)
{

  hopamp3.Instance = OPAMP3;
  hopamp3.Init.PowerMode = OPAMP_POWERMODE_NORMALSPEED;
  hopamp3.Init.Mode = OPAMP_PGA_MODE;
  hopamp3.Init.NonInvertingInput = OPAMP_NONINVERTINGINPUT_IO0;
  hopamp3.Init.InternalOutput = DISABLE;
  hopamp3.Init.TimerControlledMuxmode = OPAMP_TIMERCONTROLLEDMUXMODE_DISABLE;
  hopamp3.Init.PgaConnect = OPAMP_PGA_CONNECT_INVERTINGINPUT_IO0_BIAS;
  hopamp3.Init.PgaGain = OPAMP_PGA_GAIN_16_OR_MINUS_15;
  hopamp3.Init.UserTrimming = OPAMP_TRIMMING_FACTORY;
  if (HAL_OPAMP_Init(&hopamp3) != HAL_OK)
  {
    Error_Handler();
  }

}

static void MX_TIM1_Init(void)
{

  TIM_MasterConfigTypeDef sMasterConfig = {0};
  TIM_OC_InitTypeDef sConfigOC = {0};
  TIM_BreakDeadTimeConfigTypeDef sBreakDeadTimeConfig = {0};

  htim1.Instance = TIM1;
  htim1.Init.Prescaler = ((TIM_CLOCK_DIVIDER) - 1);
  htim1.Init.CounterMode = TIM_COUNTERMODE_CENTERALIGNED1;
  htim1.Init.Period = ((PWM_PERIOD_CYCLES) / 2);
  htim1.Init.ClockDivision = TIM_CLOCKDIVISION_DIV2;
  htim1.Init.RepetitionCounter = (REP_COUNTER);
  htim1.Init.AutoReloadPreload = TIM_AUTORELOAD_PRELOAD_DISABLE;
  if (HAL_TIM_PWM_Init(&htim1) != HAL_OK)
  {
    Error_Handler();
  }
  sMasterConfig.MasterOutputTrigger = TIM_TRGO_OC4REF;
  sMasterConfig.MasterOutputTrigger2 = TIM_TRGO2_RESET;
  sMasterConfig.MasterSlaveMode = TIM_MASTERSLAVEMODE_DISABLE;
  if (HAL_TIMEx_MasterConfigSynchronization(&htim1, &sMasterConfig) != HAL_OK)
  {
    Error_Handler();
  }
  sConfigOC.OCMode = TIM_OCMODE_PWM1;
  sConfigOC.Pulse = ((PWM_PERIOD_CYCLES) / 4);
  sConfigOC.OCPolarity = TIM_OCPOLARITY_HIGH;
  sConfigOC.OCNPolarity = TIM_OCNPOLARITY_HIGH;
  sConfigOC.OCFastMode = TIM_OCFAST_DISABLE;
  sConfigOC.OCIdleState = TIM_OCIDLESTATE_RESET;
  sConfigOC.OCNIdleState = TIM_OCNIDLESTATE_RESET;
  if (HAL_TIM_PWM_ConfigChannel(&htim1, &sConfigOC, TIM_CHANNEL_1) != HAL_OK)
  {
    Error_Handler();
  }
  if (HAL_TIM_PWM_ConfigChannel(&htim1, &sConfigOC, TIM_CHANNEL_2) != HAL_OK)
  {
    Error_Handler();
  }
  if (HAL_TIM_PWM_ConfigChannel(&htim1, &sConfigOC, TIM_CHANNEL_3) != HAL_OK)
  {
    Error_Handler();
  }
  sConfigOC.OCMode = TIM_OCMODE_PWM2;
  sConfigOC.Pulse = (((PWM_PERIOD_CYCLES) / 2) - (HTMIN));
  if (HAL_TIM_PWM_ConfigChannel(&htim1, &sConfigOC, TIM_CHANNEL_4) != HAL_OK)
  {
    Error_Handler();
  }
  sBreakDeadTimeConfig.OffStateRunMode = TIM_OSSR_ENABLE;
  sBreakDeadTimeConfig.OffStateIDLEMode = TIM_OSSI_ENABLE;
  sBreakDeadTimeConfig.LockLevel = TIM_LOCKLEVEL_OFF;
  sBreakDeadTimeConfig.DeadTime = ((DEAD_TIME_COUNTS) / 2);
  sBreakDeadTimeConfig.BreakState = TIM_BREAK_DISABLE;
  sBreakDeadTimeConfig.BreakPolarity = TIM_BREAKPOLARITY_HIGH;
  sBreakDeadTimeConfig.BreakFilter = 0;
  sBreakDeadTimeConfig.BreakAFMode = TIM_BREAK_AFMODE_INPUT;
  sBreakDeadTimeConfig.Break2State = TIM_BREAK2_DISABLE;
  sBreakDeadTimeConfig.Break2Polarity = TIM_BREAK2POLARITY_HIGH;
  sBreakDeadTimeConfig.Break2Filter = 3;
  sBreakDeadTimeConfig.Break2AFMode = TIM_BREAK_AFMODE_INPUT;
  sBreakDeadTimeConfig.AutomaticOutput = TIM_AUTOMATICOUTPUT_DISABLE;
  if (HAL_TIMEx_ConfigBreakDeadTime(&htim1, &sBreakDeadTimeConfig) != HAL_OK)
  {
    Error_Handler();
  }
  HAL_TIM_MspPostInit(&htim1);

}

static void MX_TIM4_Init(void)
{

  TIM_Encoder_InitTypeDef sConfig = {0};
  TIM_MasterConfigTypeDef sMasterConfig = {0};

  htim4.Instance = TIM4;
  htim4.Init.Prescaler = 0;
  htim4.Init.CounterMode = TIM_COUNTERMODE_UP;
  htim4.Init.Period = 65535;
  htim4.Init.ClockDivision = TIM_CLOCKDIVISION_DIV1;
  htim4.Init.AutoReloadPreload = TIM_AUTORELOAD_PRELOAD_DISABLE;
  sConfig.EncoderMode = TIM_ENCODERMODE_TI12;
  sConfig.IC1Polarity = TIM_ICPOLARITY_RISING;
  sConfig.IC1Selection = TIM_ICSELECTION_DIRECTTI;
  sConfig.IC1Prescaler = TIM_ICPSC_DIV1;
  sConfig.IC1Filter = 0;
  sConfig.IC2Polarity = TIM_ICPOLARITY_RISING;
  sConfig.IC2Selection = TIM_ICSELECTION_DIRECTTI;
  sConfig.IC2Prescaler = TIM_ICPSC_DIV1;
  sConfig.IC2Filter = 0;
  if (HAL_TIM_Encoder_Init(&htim4, &sConfig) != HAL_OK)
  {
    Error_Handler();
  }
  sMasterConfig.MasterOutputTrigger = TIM_TRGO_RESET;
  sMasterConfig.MasterSlaveMode = TIM_MASTERSLAVEMODE_DISABLE;
  if (HAL_TIMEx_MasterConfigSynchronization(&htim4, &sMasterConfig) != HAL_OK)
  {
    Error_Handler();
  }

}

static void MX_USART2_UART_Init(void)
{

  huart2.Instance = USART2;
  huart2.Init.BaudRate = 115200;
  huart2.Init.WordLength = UART_WORDLENGTH_8B;
  huart2.Init.StopBits = UART_STOPBITS_1;
  huart2.Init.Parity = UART_PARITY_NONE;
  huart2.Init.Mode = UART_MODE_TX_RX;
  huart2.Init.HwFlowCtl = UART_HWCONTROL_NONE;
  huart2.Init.OverSampling = UART_OVERSAMPLING_16;
  huart2.Init.OneBitSampling = UART_ONE_BIT_SAMPLE_DISABLE;
  huart2.Init.ClockPrescaler = UART_PRESCALER_DIV1;
  huart2.AdvancedInit.AdvFeatureInit = UART_ADVFEATURE_NO_INIT;
  if (HAL_UART_Init(&huart2) != HAL_OK)
  {
    Error_Handler();
  }
  if (HAL_UARTEx_SetTxFifoThreshold(&huart2, UART_TXFIFO_THRESHOLD_1_8) != HAL_OK)
  {
    Error_Handler();
  }
  if (HAL_UARTEx_SetRxFifoThreshold(&huart2, UART_RXFIFO_THRESHOLD_1_8) != HAL_OK)
  {
    Error_Handler();
  }
  if (HAL_UARTEx_DisableFifoMode(&huart2) != HAL_OK)
  {
    Error_Handler();
  }

}

static void MX_GPIO_Init(void)
{
  GPIO_InitTypeDef GPIO_InitStruct = {0};

  /* GPIO Ports Clock Enable */
  __HAL_RCC_GPIOC_CLK_ENABLE();
  __HAL_RCC_GPIOF_CLK_ENABLE();
  __HAL_RCC_GPIOA_CLK_ENABLE();
  __HAL_RCC_GPIOB_CLK_ENABLE();

  /*Configure GPIO pin Output Level */
  HAL_GPIO_WritePin(GPIOC, GPIO_PIN_14, GPIO_PIN_RESET);

  /*Configure GPIO pin : PC14 */
  GPIO_InitStruct.Pin = GPIO_PIN_14;
  GPIO_InitStruct.Mode = GPIO_MODE_OUTPUT_PP;
  GPIO_InitStruct.Pull = GPIO_NOPULL;
  GPIO_InitStruct.Speed = GPIO_SPEED_FREQ_LOW;
  HAL_GPIO_Init(GPIOC, &GPIO_InitStruct);

  /*Configure GPIO pin : Start_Stop_Pin */
  GPIO_InitStruct.Pin = Start_Stop_Pin;
  GPIO_InitStruct.Mode = GPIO_MODE_IT_FALLING;
  GPIO_InitStruct.Pull = GPIO_NOPULL;
  HAL_GPIO_Init(Start_Stop_GPIO_Port, &GPIO_InitStruct);

  /*Configure GPIO pin : ENC_Z_Pin */
  GPIO_InitStruct.Pin = ENC_Z_Pin;
  GPIO_InitStruct.Mode = GPIO_MODE_IT_RISING;
  GPIO_InitStruct.Pull = GPIO_NOPULL;
  HAL_GPIO_Init(ENC_Z_GPIO_Port, &GPIO_InitStruct);

}

void Error_Handler(void)
{
  __disable_irq();
  while (1)
  {
  }
}
